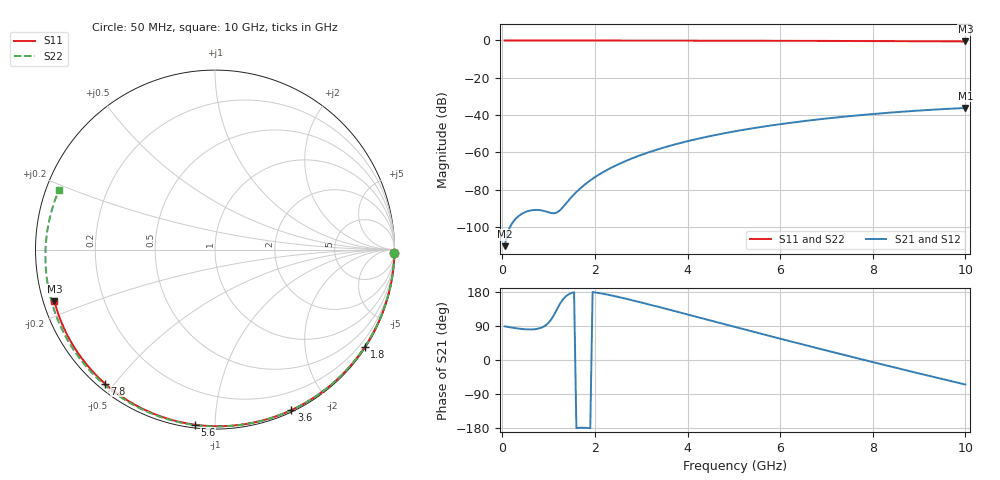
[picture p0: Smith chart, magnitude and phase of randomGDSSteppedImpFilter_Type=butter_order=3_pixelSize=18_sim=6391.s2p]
! freq	dB(S11)	phase(S11)	dB(S12)	phase(S12)
!  dB(S21)	phase(S21)	dB(S22)	phase(S22)
!S-par simulation data
#  GHz  S  DB  R 50
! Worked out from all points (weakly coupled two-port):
!   200 points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, 50 MHz to 10 GHz, reference 50 ohm
!   highest |S21| = -36.17 dB at 10 GHz (marker M1); lowest = -110.2 dB at 50 MHz (marker M2)
!   lowest |S11| = -0.5 dB at 10 GHz (marker M3), VSWR 32.24, Z = 1.59 - j7.85 ohm
!   |S11| at or under -10 dB: nowhere
!   |S22| runs from -0.6 to 0.0 dB; largest |S21 - S12| = 0
!   S11 on the Smith chart (normalised r, x): 50 MHz: open; 1.8 GHz: 0.03, -3.36; 3.6 GHz: 0.02, -1.58; 5.6 GHz: 0.02, -0.89; 7.8 GHz: 0.02, -0.47; 10 GHz: 0.03, -0.16
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0.05  -0.00 -0.9  -110.20 88.9  -110.20 88.9  -0.00 -1.1
0.8  -0.02 -14.9  -90.87 83.5  -90.87 83.5  -0.02 -17.8
1.2  -0.03 -22.3  -91.85 138.4  -91.85 138.4  -0.03 -26.6
1.65  -0.04 -30.5  -80.00 -179.1  -80.00 -179.1  -0.05 -36.3
1.75  -0.04 -32.3  -77.82 -178.7  -77.82 -178.7  -0.05 -38.4
1.8  -0.04 -33.2  -76.82 -179.0  -76.82 -179.0  -0.05 -39.5
2.1  -0.05 -38.5  -71.67 176.5  -71.67 176.5  -0.06 -45.9
2.5  -0.06 -45.6  -66.40 166.5  -66.40 166.5  -0.07 -54.3
2.9  -0.07 -52.6  -62.23 154.8  -62.23 154.8  -0.08 -62.5
3.4  -0.08 -61.1  -58.02 139.3  -58.02 139.3  -0.10 -72.6
3.6  -0.09 -64.5  -56.57 133.0  -56.57 133.0  -0.10 -76.6
4.3  -0.11 -76.1  -52.23 110.5  -52.23 110.5  -0.13 -90.3
5.05  -0.14 -88.1  -48.54 86.4  -48.54 86.4  -0.16 -104.6
5.6  -0.16 -96.6  -46.29 68.9  -46.29 68.9  -0.19 -114.8
6.15  -0.19 -105.0  -44.35 51.5  -44.35 51.5  -0.22 -125.0
6.7  -0.22 -113.2  -42.65 34.3  -42.65 34.3  -0.26 -135.1
7.25  -0.26 -121.4  -41.16 17.3  -41.16 17.3  -0.31 -145.3
7.8  -0.30 -129.4  -39.85 0.5  -39.85 0.5  -0.36 -155.6
8.35  -0.35 -137.5  -38.71 -16.1  -38.71 -16.1  -0.42 -166.2
9.2  -0.44 -150.0  -37.24 -41.4  -37.24 -41.4  -0.52 176.5
9.6  -0.49 -156.0  -36.66 -53.1  -36.66 -53.1  -0.57 167.9
10  -0.54 -162.1  -36.17 -64.7  -36.17 -64.7  -0.63 159.0
